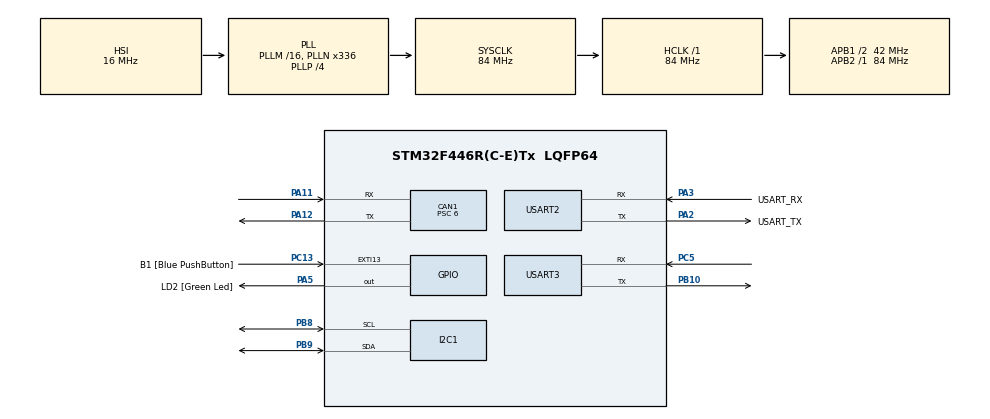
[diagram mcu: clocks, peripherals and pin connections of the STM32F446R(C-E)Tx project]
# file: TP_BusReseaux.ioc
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CAN1.BS1=CAN_BS1_11TQ
CAN1.BS2=CAN_BS2_2TQ
CAN1.CalculateBaudRate=500000
CAN1.CalculateTimeBit=2000
CAN1.CalculateTimeQuantum=142.85714285714286
CAN1.Prescaler=6
Mcu.Family=STM32F4
Mcu.Name=STM32F446R(C-E)Tx
Mcu.Package=LQFP64
NVIC.PriorityGroup=NVIC_PRIORITYGROUP_0
NVIC.USART3_IRQn=true\:0\:0\:false\:false\:true\:true\:true\:true
PA11.Mode=CAN_Activate
PA11.Signal=CAN1_RX
PA12.Mode=CAN_Activate
PA12.Signal=CAN1_TX
PA13.GPIO_Label=TMS
PA13.Mode=Serial_Wire
PA13.Signal=SYS_JTMS-SWDIO
PA14.GPIO_Label=TCK
PA14.Mode=Serial_Wire
PA14.Signal=SYS_JTCK-SWCLK
PA2.GPIO_Label=USART_TX
PA2.Mode=Asynchronous
PA2.Signal=USART2_TX
PA3.GPIO_Label=USART_RX
PA3.Mode=Asynchronous
PA3.Signal=USART2_RX
PA5.GPIO_Label=LD2 [Green Led]
PA5.Signal=GPIO_Output
PB10.Mode=Asynchronous
PB10.Signal=USART3_TX
PB3.GPIO_Label=SWO
PB3.Signal=SYS_JTDO-SWO
PB8.Mode=I2C
PB8.Signal=I2C1_SCL
PB9.Mode=I2C
PB9.Signal=I2C1_SDA
PC13.GPIO_Label=B1 [Blue PushButton]
PC13.GPIO_ModeDefaultEXTI=GPIO_MODE_IT_FALLING
PC13.Signal=GPXTI13
PC14-OSC32_IN.Mode=LSE-External-Oscillator
PC14-OSC32_IN.Signal=RCC_OSC32_IN
PC15-OSC32_OUT.Mode=LSE-External-Oscillator
PC15-OSC32_OUT.Signal=RCC_OSC32_OUT
PC5.Mode=Asynchronous
PC5.Signal=USART3_RX
PH0-OSC_IN.Mode=HSE-External-Oscillator
PH0-OSC_IN.Signal=RCC_OSC_IN
PH1-OSC_OUT.Mode=HSE-External-Oscillator
PH1-OSC_OUT.Signal=RCC_OSC_OUT
ProjectManager.HeapSize=0x200
ProjectManager.StackSize=0x400
ProjectManager.TargetToolchain=STM32CubeIDE
RCC.48MHZClocksFreq_Value=84000000
RCC.AHBFreq_Value=84000000
RCC.APB1CLKDivider=RCC_HCLK_DIV2
RCC.APB1Freq_Value=42000000
RCC.APB1TimFreq_Value=84000000
RCC.APB2Freq_Value=84000000
RCC.APB2TimFreq_Value=84000000
RCC.CortexFreq_Value=84000000
RCC.FLatency-AdvancedSettings=FLASH_LATENCY_2
RCC.HCLKFreq_Value=84000000
RCC.HSE_VALUE=8000000
RCC.HSI_VALUE=16000000
RCC.PLLN=336
RCC.PLLP=RCC_PLLP_DIV4
RCC.SYSCLKFreq_VALUE=84000000
RCC.SYSCLKSource=RCC_SYSCLKSOURCE_PLLCLK
RCC.USBFreq_Value=168000000
RCC.VCOOutputFreq_Value=336000000
USART2.VirtualMode=VM_ASYNC
USART3.VirtualMode=VM_ASYNC
board=NUCLEO-F446RE

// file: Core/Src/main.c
/* USER CODE BEGIN Header */
/**
 ******************************************************************************
 * @file           : main.c
 * @brief          : Main program body
 ******************************************************************************
 * @attention
 *
 * Copyright (c) 2023 STMicroelectronics.
 * All rights reserved.
 *
 * This software is licensed under terms that can be found in the LICENSE file
 * in the root directory of this software component.
 * If no LICENSE file comes with this software, it is provided AS-IS.
 *
 ******************************************************************************
 */
/* USER CODE END Header */
#include "main.h"
#include "can.h"
#include "i2c.h"
#include "usart.h"
#include "gpio.h"

/* USER CODE BEGIN Includes */
#include "BMP.h"
#include <stdio.h>
#include <stdlib.h>
#include <string.h>
/* USER CODE END Includes */

/* USER CODE BEGIN PV */
uint8_t rxPiBuffer[10];
uint32_t nonecompensatedPression;
uint32_t noneCompensatedTemperature;
BMP280_S32_t compensatedTemperature;
BMP280_U32_t compensatedPression;
int K=1000;
int A=1234;

/* USER CODE END PV */

void SystemClock_Config(void);

/* USER CODE BEGIN 0 */
void HAL_UART_RxCpltCallback(UART_HandleTypeDef *huart)
{
	if (huart == &huart3)
	{
		printf("%s",rxPiBuffer);
		if (strcmp(rxPiBuffer, "GET_T") == 0) {
			noneCompensatedTemperature=temperatureNonCompense();
			compensatedTemperature=bmp280_compensate_T_int32(noneCompensatedTemperature);
			  printf("Tcompense=%d_C\n\r",(int)(compensatedTemperature));
		}
		else if (strcmp(rxPiBuffer, "GET_P") == 0) {

			nonecompensatedPression = pressionNonCompense();
			compensatedPression=bmp280_compensate_T_int32(nonecompensatedPression);
			  printf("Pcompense=%dPa\n\r",(int)(compensatedPression));
		}
		else if (strcmp(rxPiBuffer, "GET_K") == 0) {
			printf("K=%d.%d000\r\n",(int)(K/100),K%100);
				}
		else if (strcmp(rxPiBuffer, "GET_A") == 0) {
			printf("A=%d.%d000\r\n",(int)(A/1000),A%1000);

				}
		else if (strcmp(rxPiBuffer, "SET_K") == 0) {

				}
		else {
			printf("Command no exist \r\n");

		}
	}
	HAL_UART_Receive_IT(&huart3, rxPiBuffer, 1);
}

/* USER CODE END 0 */

int main(void)
{

  /* MCU Configuration--------------------------------------------------------*/

  /* Reset of all peripherals, Initializes the Flash interface and the Systick. */
  HAL_Init();

  /* Configure the system clock */
  SystemClock_Config();

  /* Initialize all configured peripherals */
  MX_GPIO_Init();
  MX_USART2_UART_Init();
  MX_I2C1_Init();
  MX_CAN1_Init();
  MX_USART3_UART_Init();
  /* USER CODE BEGIN 2 */
  devID_BMP();
  setConfig_BMP();
  noneCompensatedTemperature=temperatureNonCompense();
  nonecompensatedPression=pressionNonCompense();
  compensatedTemperature= bmp280_compensate_T_int32(noneCompensatedTemperature);
  compensatedPression = bmp280_compensate_P_int32(nonecompensatedPression);
  printf("Pcompense=%dPa\n\r",(int)(compensatedPression));
  printf("Tcompense=%d_C\n\r",(int)(compensatedTemperature));

  /* USER CODE END 2 */

  /* Infinite loop */
	while (1)
	{

	}
}

void SystemClock_Config(void)
{
  RCC_OscInitTypeDef RCC_OscInitStruct = {0};
  RCC_ClkInitTypeDef RCC_ClkInitStruct = {0};

  /** Configure the main internal regulator output voltage
  */
  __HAL_RCC_PWR_CLK_ENABLE();
  __HAL_PWR_VOLTAGESCALING_CONFIG(PWR_REGULATOR_VOLTAGE_SCALE3);

  /** Initializes the RCC Oscillators according to the specified parameters
  * in the RCC_OscInitTypeDef structure.
  */
  RCC_OscInitStruct.OscillatorType = RCC_OSCILLATORTYPE_HSI;
  RCC_OscInitStruct.HSIState = RCC_HSI_ON;
  RCC_OscInitStruct.HSICalibrationValue = RCC_HSICALIBRATION_DEFAULT;
  RCC_OscInitStruct.PLL.PLLState = RCC_PLL_ON;
  RCC_OscInitStruct.PLL.PLLSource = RCC_PLLSOURCE_HSI;
  RCC_OscInitStruct.PLL.PLLM = 16;
  RCC_OscInitStruct.PLL.PLLN = 336;
  RCC_OscInitStruct.PLL.PLLP = RCC_PLLP_DIV4;
  RCC_OscInitStruct.PLL.PLLQ = 2;
  RCC_OscInitStruct.PLL.PLLR = 2;
  if (HAL_RCC_OscConfig(&RCC_OscInitStruct) != HAL_OK)
  {
    Error_Handler();
  }

  /** Initializes the CPU, AHB and APB buses clocks
  */
  RCC_ClkInitStruct.ClockType = RCC_CLOCKTYPE_HCLK|RCC_CLOCKTYPE_SYSCLK
                              |RCC_CLOCKTYPE_PCLK1|RCC_CLOCKTYPE_PCLK2;
  RCC_ClkInitStruct.SYSCLKSource = RCC_SYSCLKSOURCE_PLLCLK;
  RCC_ClkInitStruct.AHBCLKDivider = RCC_SYSCLK_DIV1;
  RCC_ClkInitStruct.APB1CLKDivider = RCC_HCLK_DIV2;
  RCC_ClkInitStruct.APB2CLKDivider = RCC_HCLK_DIV1;

  if (HAL_RCC_ClockConfig(&RCC_ClkInitStruct, FLASH_LATENCY_2) != HAL_OK)
  {
    Error_Handler();
  }
}

void Error_Handler(void)
{
	__disable_irq();
	while (1)
	{
	}
}
